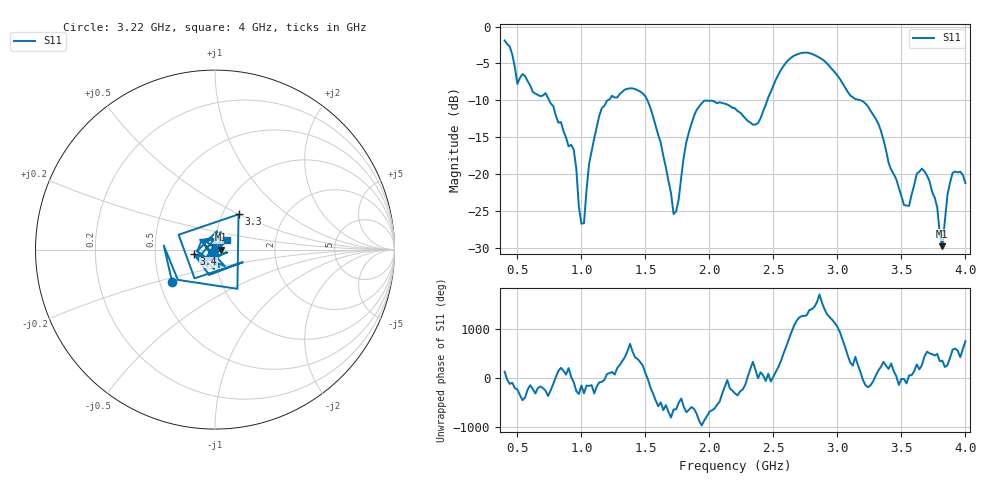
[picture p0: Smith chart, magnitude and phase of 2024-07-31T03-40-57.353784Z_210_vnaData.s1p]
!Created with skrf (http://scikit-rf.org).
# Hz S RI R 50.0
!freq ReS11 ImS11
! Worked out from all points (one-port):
!   181 points, 400 MHz to 4 GHz, reference 50 ohm
!   lowest |S11| = -29.8 dB at 3.82 GHz (marker M1), VSWR 1.07, Z = 53.3 - j0.0277 ohm
!   |S11| at or under -10 dB: 747.7 MHz to 1.207 GHz (459.5 MHz wide, 47 % of centre); 1.515 GHz to 2.452 GHz (937.7 MHz wide, 47.3 % of centre); 3.178 GHz to end of sweep
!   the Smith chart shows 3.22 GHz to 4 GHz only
!   S11 on the Smith chart (normalised r, x): 3.22 GHz: 0.58, -0.23; 3.3 GHz: 1.19, +0.49; 3.4 GHz: 0.79, -0.04; 4 GHz: 1.14, +0.12
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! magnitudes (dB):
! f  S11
! 400 MHz  -1.9
! 500 MHz  -7.8
! 720 MHz  -9.0
! 860 MHz  -14.2
! 940 MHz  -16.7
! 980 MHz  -24.4
! 1.02 GHz  -26.7
! 1.06 GHz  -18.6
! 1.14 GHz  -12.1
! 1.3 GHz  -9.1
! 1.5 GHz  -9.5
! 1.62 GHz  -15.8
! 1.72 GHz  -25.4
! 1.76 GHz  -23.5
! 1.82 GHz  -15.7
! 1.9 GHz  -11.3
! 2.2 GHz  -11.1
! 2.38 GHz  -13.1
! 2.66 GHz  -4.0
! 3.1 GHz  -9.3
! 3.22 GHz  -10.5
! 3.3 GHz  -12.5
! 3.4 GHz  -18.5
! 3.56 GHz  -24.3
! 3.68 GHz  -19.7
! 3.82 GHz  -29.8
! 3.9 GHz  -19.9
! 4 GHz  -21.2
